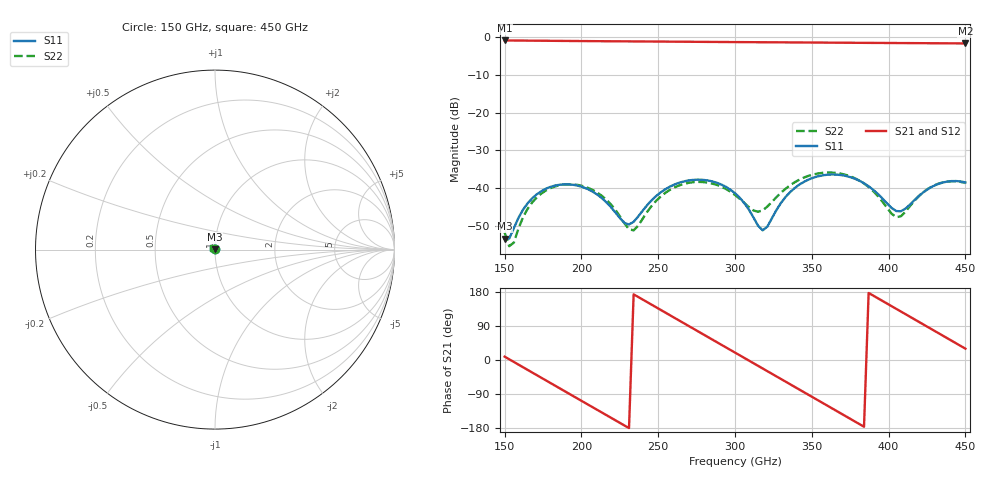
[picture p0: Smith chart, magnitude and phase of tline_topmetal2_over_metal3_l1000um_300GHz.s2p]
#  GHZ S DB R 50
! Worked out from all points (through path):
!   101 points, 150 GHz to 450 GHz, reference 50 ohm
!   highest |S21| = -0.82 dB at 150 GHz (marker M1); lowest = -1.6 dB at 450 GHz (marker M2)
!   group delay of S21, straight-line fit = 6.47 ps
!   lowest |S11| = -53.5 dB at 150 GHz (marker M3), VSWR 1.00, Z = 50 + j0.206 ohm
!   |S11| at or under -10 dB: start of sweep to end of sweep
!   |S22| runs from -55.5 to -35.9 dB; largest |S21 - S12| = 1.5e-13
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150  -53.50 102.9  -0.82 8.9  -0.82 8.9  -51.89 133.4
153  -53.46 55.4  -0.83 1.9  -0.83 1.9  -55.48 91.5
156  -50.72 20.3  -0.84 -5.1  -0.84 -5.1  -54.54 35.3
165  -44.08 -29.8  -0.86 -26.1  -0.86 -26.1  -45.54 -31.2
180  -39.71 -81.2  -0.91 -61.1  -0.91 -61.1  -40.05 -82.7
201  -39.81 -147.9  -0.98 -110.0  -0.98 -110.0  -39.53 -147.4
219  -45.00 143.3  -1.03 -151.8  -1.03 -151.8  -44.29 149.9
234  -49.02 23.8  -1.07 173.3  -1.07 173.3  -51.28 36.1
252  -41.07 -72.5  -1.12 131.3  -1.12 131.3  -42.16 -75.9
264  -38.59 -112.9  -1.15 103.4  -1.15 103.4  -39.30 -116.8
276  -37.81 -150.5  -1.18 75.4  -1.18 75.4  -38.40 -155.2
300  -41.41 131.7  -1.25 19.6  -1.25 19.6  -41.86 119.1
318  -51.28 11.6  -1.29 -22.3  -1.29 -22.3  -45.96 -2.7
336  -41.07 -113.5  -1.34 -64.3  -1.34 -64.3  -39.27 -100.5
351  -37.29 -162.4  -1.37 -99.2  -1.37 -99.2  -36.42 -151.2
363  -36.44 161.5  -1.40 -127.2  -1.40 -127.2  -35.93 172.0
378  -37.56 115.3  -1.44 -162.1  -1.44 -162.1  -37.43 125.5
390  -40.50 72.4  -1.47 169.9  -1.47 169.9  -40.86 83.0
402  -45.35 6.6  -1.50 141.9  -1.50 141.9  -46.87 13.3
408  -46.21 -43.6  -1.51 128.0  -1.51 128.0  -47.54 -45.2
426  -40.21 -145.4  -1.55 86.0  -1.55 86.0  -40.16 -145.4
450  -38.54 138.7  -1.61 29.9  -1.61 29.9  -38.71 138.4
